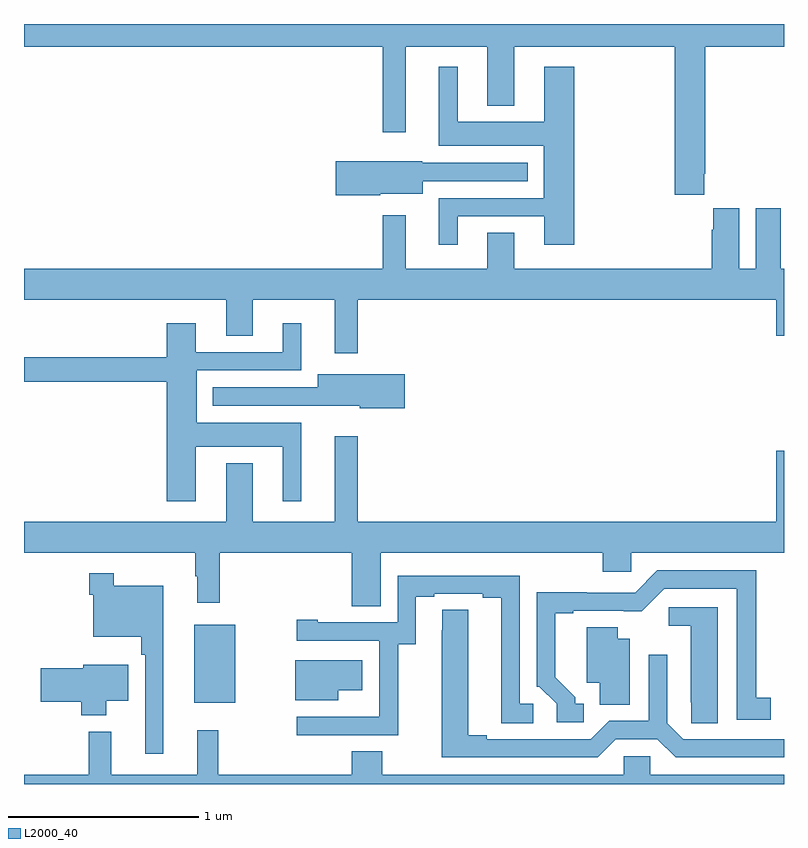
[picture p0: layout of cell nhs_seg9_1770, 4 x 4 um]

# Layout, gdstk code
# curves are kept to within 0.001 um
import gdstk
lib = gdstk.Library(unit=1e-6, precision=1e-09)
def R(c, l, rs):  # rectangles x0, y0, x1, y1
    for r in rs: c.add(gdstk.rectangle(r[:2], r[2:], *l))
def P(c, l, *ps):  # polygons
    for p in ps: c.add(gdstk.Polygon(p, *l))
L2000_40 = (2000, 40)

nhs_seg9_1770 = lib.new_cell('nhs_seg9_1770')
R(nhs_seg9_1770, L2000_40, [(209.897,1232.927,210.112,1233.337)])
P(nhs_seg9_1770, L2000_40, [(212.581,1235.713),(212.586,1235.713),(212.586,1236.38),(213,1236.38),(213,1236.5),(209,1236.5),(209,1236.38),(210.888,1236.38),(210.888,1235.931),(211.009,1235.931),(211.009,1236.38),(211.439,1236.38),(211.439,1236.071),(211.579,1236.071),(211.579,1236.38),(212.426,1236.38),(212.426,1235.601),(212.581,1235.601)],
  [(211.282,1235.487),(211.739,1235.487),(211.739,1235.337),(211.895,1235.337),(211.895,1236.274),(211.739,1236.274),(211.739,1235.986),(211.282,1235.986),(211.282,1236.274),(211.184,1236.274),(211.184,1235.858),(211.736,1235.858),(211.736,1235.583),(211.184,1235.583),(211.184,1235.337),(211.282,1235.337)],
  [(210.876,1235.606),(211.099,1235.606),(211.099,1235.673),(211.651,1235.673),(211.651,1235.769),(211.095,1235.769),(211.095,1235.777),(210.642,1235.777),(210.642,1235.599),(210.876,1235.599)],
  [(210.757,1235.048),(212.96,1235.048),(212.96,1234.86),(213,1234.86),(213,1235.212),(212.983,1235.212),(212.983,1235.53),(212.852,1235.53),(212.852,1235.212),(212.764,1235.212),(212.764,1235.53),(212.627,1235.53),(212.627,1235.417),(212.621,1235.417),(212.621,1235.212),(211.579,1235.212),(211.579,1235.402),(211.439,1235.402),(211.439,1235.212),(211.009,1235.212),(211.009,1235.494),(210.888,1235.494),(210.888,1235.212),(209,1235.212),(209,1235.048),(210.065,1235.048),(210.065,1234.858),(210.205,1234.858),(210.205,1235.048),(210.635,1235.048),(210.635,1234.767),(210.757,1234.767)],
  [(209.905,1234.274),(210.362,1234.274),(210.362,1233.987),(210.46,1233.987),(210.46,1234.402),(209.908,1234.402),(209.908,1234.677),(210.46,1234.677),(210.46,1234.924),(210.362,1234.924),(210.362,1234.773),(209.905,1234.773),(209.905,1234.924),(209.75,1234.924),(209.75,1234.747),(209,1234.747),(209,1234.618),(209.75,1234.618),(209.75,1233.987),(209.905,1233.987)],
  [(211.003,1234.656),(210.545,1234.656),(210.545,1234.587),(209.993,1234.587),(209.993,1234.491),(210.549,1234.491),(210.549,1234.49),(210.768,1234.49),(210.768,1234.478),(211.003,1234.478)],
  [(210.877,1233.716),(212.045,1233.716),(212.045,1233.618),(212.196,1233.618),(212.196,1233.716),(213,1233.716),(213,1234.255),(212.96,1234.255),(212.96,1233.88),(210.757,1233.88),(210.757,1234.33),(210.635,1234.33),(210.635,1233.88),(210.205,1233.88),(210.205,1234.189),(210.065,1234.189),(210.065,1233.88),(209,1233.88),(209,1233.716),(209.901,1233.716),(209.901,1233.593),(209.912,1233.593),(209.912,1233.453),(210.029,1233.453),(210.029,1233.716),(210.725,1233.716),(210.725,1233.436),(210.877,1233.436)],
  [(211.945,1232.922),(211.9,1232.922),(211.9,1232.957),(211.795,1233.062),(211.795,1233.399),(211.891,1233.399),(211.891,1233.411),(212.252,1233.41),(212.37,1233.528),(212.75,1233.528),(212.75,1232.838),(212.929,1232.838),(212.929,1232.954),(212.854,1232.954),(212.854,1233.624),(212.334,1233.624),(212.217,1233.507),(211.961,1233.507),(211.961,1233.509),(211.698,1233.509),(211.698,1233.012),(211.713,1233.012),(211.803,1232.922),(211.803,1232.826),(211.945,1232.826)],
  [(209.734,1233.544),(209.473,1233.544),(209.473,1233.61),(209.344,1233.61),(209.344,1233.497),(209.364,1233.497),(209.364,1233.275),(209.617,1233.275),(209.617,1233.179),(209.637,1233.179),(209.637,1232.658),(209.734,1232.658)],
  [(210.969,1233.235),(211.063,1233.235),(211.063,1233.486),(211.159,1233.486),(211.159,1233.501),(211.415,1233.501),(211.415,1233.481),(211.511,1233.481),(211.511,1232.821),(211.681,1232.821),(211.681,1232.922),(211.608,1232.922),(211.608,1233.597),(210.966,1233.597),(210.966,1233.351),(210.547,1233.351),(210.547,1233.364),(210.435,1233.364),(210.435,1233.255),(210.87,1233.255),(210.87,1232.854),(210.869,1232.854),(210.869,1232.853),(210.435,1232.853),(210.435,1232.757),(210.969,1232.757)],
  [(212.65,1233.429),(212.394,1233.429),(212.394,1233.332),(212.51,1233.332),(212.51,1232.929),(212.511,1232.929),(212.511,1232.821),(212.65,1232.821)],
  [(212.115,1232.736),(212.333,1232.736),(212.429,1232.64),(213,1232.64),(213,1232.736),(212.469,1232.736),(212.385,1232.82),(212.385,1233.181),(212.289,1233.181),(212.289,1232.832),(212.079,1232.832),(211.983,1232.736),(211.435,1232.736),(211.435,1232.756),(211.339,1232.756),(211.339,1233.416),(211.2,1233.416),(211.199,1232.64),(212.019,1232.64)],
  [(212.188,1233.265),(212.125,1233.265),(212.125,1233.326),(211.961,1233.326),(211.961,1233.032),(212.03,1233.032),(212.03,1232.917),(212.188,1232.917)],
  [(210.655,1232.993),(210.781,1232.993),(210.781,1233.151),(210.428,1233.151),(210.428,1232.942),(210.655,1232.942)],
  [(209.434,1232.939),(209.548,1232.939),(209.548,1233.127),(209.312,1233.127),(209.312,1233.11),(209.088,1233.11),(209.088,1232.932),(209.3,1232.932),(209.3,1232.861),(209.434,1232.861)],
  [(210.885,1232.672),(210.725,1232.672),(210.725,1232.548),(210.022,1232.548),(210.022,1232.782),(209.912,1232.782),(209.912,1232.548),(209.459,1232.548),(209.459,1232.776),(209.341,1232.776),(209.341,1232.548),(209,1232.548),(209,1232.5),(213,1232.5),(213,1232.548),(212.295,1232.548),(212.295,1232.646),(212.157,1232.646),(212.157,1232.548),(210.885,1232.548)])

lib.write_gds('nhs_seg9_1770.gds')
